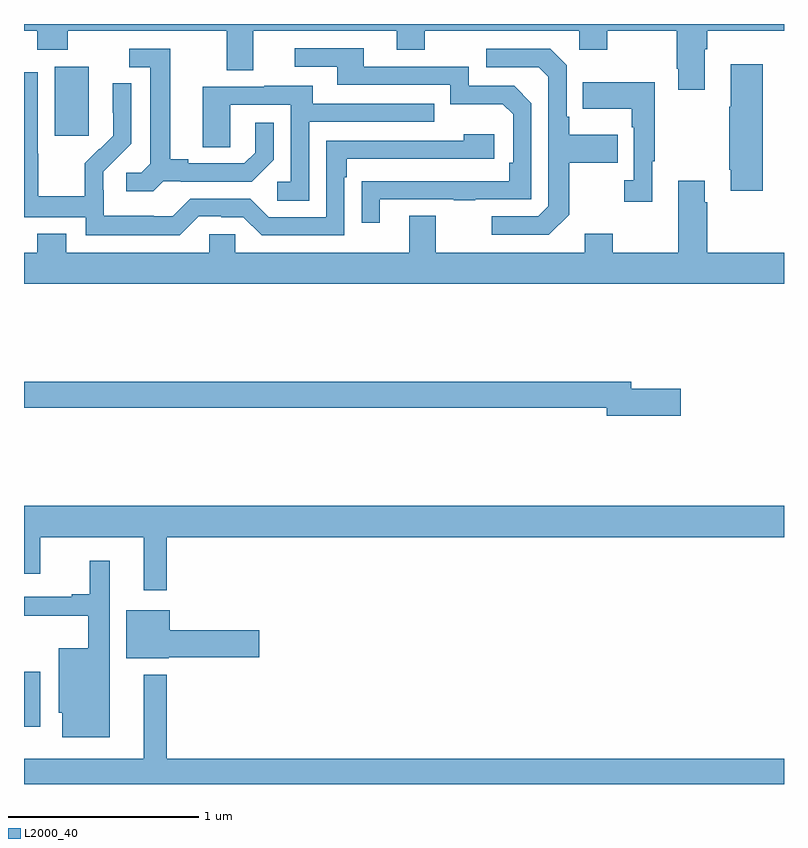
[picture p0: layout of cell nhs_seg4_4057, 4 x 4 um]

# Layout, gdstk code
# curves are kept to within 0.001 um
import gdstk
lib = gdstk.Library(unit=1e-6, precision=1e-09)
def R(c, l, rs):  # rectangles x0, y0, x1, y1
    for r in rs: c.add(gdstk.rectangle(r[:2], r[2:], *l))
def P(c, l, *ps):  # polygons
    for p in ps: c.add(gdstk.Polygon(p, *l))
L2000_40 = (2000, 40)

nhs_seg4_4057 = lib.new_cell('nhs_seg4_4057')
R(nhs_seg4_4057, L2000_40, [(327,749.202,327.085,749.491), (327.161,752.313,327.34,752.674)])
P(nhs_seg4_4057, L2000_40, [(330.583,752.768),(330.596,752.768),(330.596,752.864),(331,752.864),(331,752.9),(327,752.9),(327,752.864),(327.071,752.864),(327.071,752.765),(327.231,752.765),(327.231,752.864),(328.067,752.864),(328.067,752.656),(328.207,752.656),(328.207,752.864),(328.961,752.864),(328.961,752.765),(329.109,752.765),(329.109,752.864),(329.922,752.864),(329.922,752.765),(330.069,752.765),(330.069,752.864),(330.436,752.864),(330.436,752.665),(330.443,752.665),(330.443,752.553),(330.583,752.553)],
  [(328.873,751.977),(329.263,751.977),(329.263,751.972),(329.375,751.972),(329.375,751.977),(329.67,751.977),(329.67,752.484),(329.58,752.574),(329.34,752.574),(329.34,752.676),(328.789,752.676),(328.789,752.772),(328.425,752.772),(328.425,752.676),(328.649,752.676),(328.649,752.58),(329.244,752.58),(329.244,752.477),(329.521,752.477),(329.574,752.424),(329.574,752.17),(329.554,752.17),(329.554,752.073),(328.777,752.072),(328.777,751.854),(328.873,751.854)],
  [(329.869,751.897),(329.869,752.17),(330.125,752.17),(330.125,752.317),(329.869,752.317),(329.869,752.413),(329.856,752.413),(329.856,752.682),(329.769,752.769),(329.433,752.769),(329.433,752.673),(329.709,752.673),(329.76,752.622),(329.76,751.941),(329.706,751.887),(329.463,751.887),(329.463,751.791),(329.763,751.791)],
  [(327.732,752.073),(327.826,752.073),(327.826,752.07),(328.198,752.07),(328.314,752.186),(328.314,752.38),(328.217,752.38),(328.217,752.223),(328.16,752.166),(327.865,752.166),(327.865,752.189),(327.769,752.189),(327.769,752.769),(327.555,752.769),(327.555,752.673),(327.665,752.673),(327.665,752.165),(327.618,752.118),(327.537,752.118),(327.537,752.021),(327.68,752.021)],
  [(330.887,752.689),(330.719,752.689),(330.719,752.465),(330.712,752.465),(330.712,752.134),(330.719,752.134),(330.719,752.022),(330.887,752.022)],
  [(327.921,751.887),(328.037,751.887),(328.037,751.884),(328.155,751.884),(328.251,751.788),(328.686,751.788),(328.686,752.093),(328.699,752.093),(328.699,752.19),(329.476,752.19),(329.476,752.32),(329.315,752.32),(329.315,752.286),(328.59,752.286),(328.59,751.884),(328.287,751.884),(328.191,751.98),(327.876,751.98),(327.783,751.887),(327.683,751.887),(327.683,751.891),(327.42,751.891),(327.42,752.025),(327.418,752.025),(327.418,752.122),(327.564,752.27),(327.564,752.588),(327.468,752.588),(327.468,752.434),(327.47,752.434),(327.47,752.312),(327.399,752.241),(327.396,752.244),(327.319,752.167),(327.319,751.993),(327.075,751.993),(327.075,752.216),(327.072,752.216),(327.072,752.646),(327,752.646),(327,751.884),(327.324,751.884),(327.324,751.787),(327.821,751.787)],
  [(330.307,752.177),(330.319,752.177),(330.319,752.593),(329.941,752.593),(329.941,752.453),(330.198,752.453),(330.198,752.357),(330.21,752.357),(330.21,752.078),(330.159,752.078),(330.159,751.965),(330.307,751.965)],
  [(328.5,752.385),(329.159,752.385),(329.159,752.481),(328.519,752.481),(328.519,752.575),(328.265,752.575),(328.265,752.571),(327.941,752.571),(327.941,752.251),(328.086,752.251),(328.086,752.475),(328.404,752.475),(328.404,752.07),(328.332,752.07),(328.332,751.969),(328.5,751.969)],
  [(331,751.696),(330.596,751.696),(330.596,751.961),(330.583,751.961),(330.583,752.074),(330.443,752.074),(330.443,751.696),(330.099,751.696),(330.099,751.795),(329.951,751.795),(329.951,751.696),(329.167,751.696),(329.167,751.891),(329.027,751.891),(329.027,751.696),(328.113,751.696),(328.113,751.794),(327.975,751.794),(327.975,751.696),(327.223,751.696),(327.223,751.795),(327.071,751.795),(327.071,751.696),(327,751.696),(327,751.532),(331,751.532)],
  [(330.457,750.98),(330.196,750.98),(330.196,751.016),(327,751.016),(327,750.88),(330.068,750.88),(330.068,750.838),(330.457,750.838)],
  [(327.751,750.2),(331,750.2),(331,750.364),(327,750.364),(327,750.006),(327.085,750.006),(327.085,750.2),(327.629,750.2),(327.629,749.919),(327.751,749.919)],
  [(327.451,750.076),(327.345,750.076),(327.345,749.899),(327.251,749.899),(327.251,749.886),(327,749.886),(327,749.785),(327.337,749.785),(327.337,749.614),(327.182,749.614),(327.182,749.274),(327.2,749.274),(327.2,749.147),(327.451,749.147)],
  [(327.762,749.567),(328.237,749.567),(328.237,749.709),(327.766,749.709),(327.766,749.815),(327.539,749.815),(327.539,749.561),(327.762,749.561)],
  [(331,749.032),(327.751,749.032),(327.751,749.476),(327.629,749.476),(327.629,749.032),(327,749.032),(327,748.9),(331,748.9)])

lib.write_gds('nhs_seg4_4057.gds')
